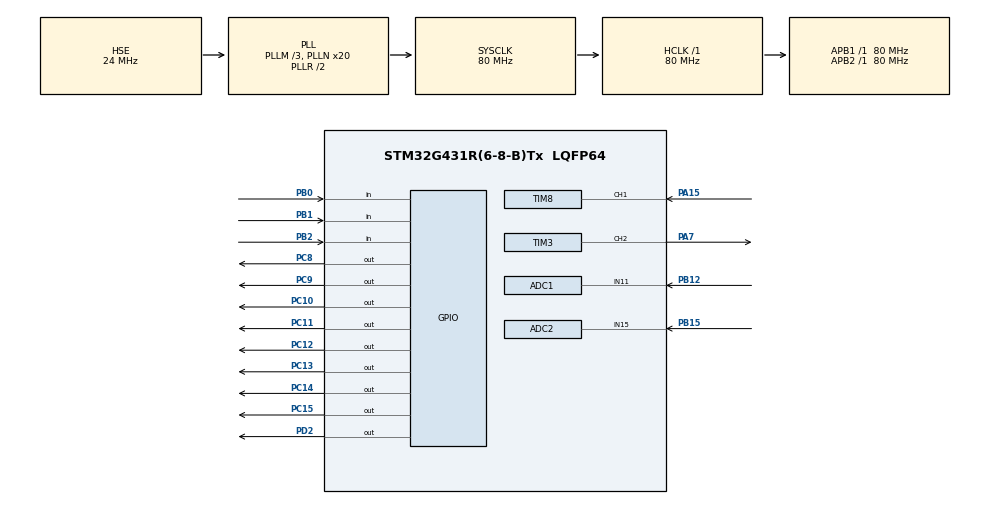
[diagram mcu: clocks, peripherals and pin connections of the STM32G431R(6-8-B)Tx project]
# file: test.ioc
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ADC1.Channel-0\#ChannelRegularConversion=ADC_CHANNEL_11
ADC1.ClockPrescaler=ADC_CLOCK_ASYNC_DIV128
ADC1.NbrOfConversionFlag=1
ADC1.OffsetNumber-0\#ChannelRegularConversion=ADC_OFFSET_NONE
ADC1.Rank-0\#ChannelRegularConversion=1
ADC1.SamplingTime-0\#ChannelRegularConversion=ADC_SAMPLETIME_2CYCLES_5
ADC1.master=1
ADC2.Channel-0\#ChannelRegularConversion=ADC_CHANNEL_15
ADC2.ClockPrescaler=ADC_CLOCK_ASYNC_DIV128
ADC2.NbrOfConversionFlag=1
ADC2.OffsetNumber-0\#ChannelRegularConversion=ADC_OFFSET_NONE
ADC2.Rank-0\#ChannelRegularConversion=1
ADC2.SamplingTime-0\#ChannelRegularConversion=ADC_SAMPLETIME_2CYCLES_5
Mcu.Family=STM32G4
Mcu.Name=STM32G431R(6-8-B)Tx
Mcu.Package=LQFP64
NVIC.PriorityGroup=NVIC_PRIORITYGROUP_4
NVIC.TIM7_IRQn=true\:0\:0\:false\:false\:true\:true\:true\:true
NVIC.TIM8_CC_IRQn=true\:0\:0\:false\:false\:true\:true\:true\:true
PA13.Mode=Serial_Wire
PA13.Signal=SYS_JTMS-SWDIO
PA14.Mode=Serial_Wire
PA14.Signal=SYS_JTCK-SWCLK
PA15.Signal=S_TIM8_CH1
PA7.Signal=S_TIM3_CH2
PB0.GPIO_Mode=GPIO_MODE_INPUT
PB0.GPIO_PuPd=GPIO_PULLUP
PB0.Signal=GPIO_Input
PB1.GPIO_Mode=GPIO_MODE_INPUT
PB1.GPIO_PuPd=GPIO_PULLUP
PB1.Signal=GPIO_Input
PB12.Mode=IN11-Single-Ended
PB12.Signal=ADC1_IN11
PB15.Mode=IN15-Single-Ended
PB15.Signal=ADC2_IN15
PB2.GPIO_Mode=GPIO_MODE_INPUT
PB2.GPIO_PuPd=GPIO_PULLUP
PB2.Signal=GPIO_Input
PC10.PinState=GPIO_PIN_SET
PC10.Signal=GPIO_Output
PC11.PinState=GPIO_PIN_SET
PC11.Signal=GPIO_Output
PC12.PinState=GPIO_PIN_SET
PC12.Signal=GPIO_Output
PC13.PinState=GPIO_PIN_SET
PC13.Signal=GPIO_Output
PC14-OSC32_IN.PinState=GPIO_PIN_SET
PC14-OSC32_IN.Signal=GPIO_Output
PC15-OSC32_OUT.PinState=GPIO_PIN_SET
PC15-OSC32_OUT.Signal=GPIO_Output
PC8.PinState=GPIO_PIN_SET
PC8.Signal=GPIO_Output
PC9.PinState=GPIO_PIN_SET
PC9.Signal=GPIO_Output
PD2.PinState=GPIO_PIN_SET
PD2.Signal=GPIO_Output
PF0-OSC_IN.Mode=HSE-External-Oscillator
PF0-OSC_IN.Signal=RCC_OSC_IN
PF1-OSC_OUT.Mode=HSE-External-Oscillator
PF1-OSC_OUT.Signal=RCC_OSC_OUT
ProjectManager.HeapSize=0x200
ProjectManager.StackSize=0x400
ProjectManager.TargetToolchain=MDK-ARM V5.32
RCC.ADC12Freq_Value=80000000
RCC.AHBFreq_Value=80000000
RCC.APB1Freq_Value=80000000
RCC.APB1TimFreq_Value=80000000
RCC.APB2Freq_Value=80000000
RCC.APB2TimFreq_Value=80000000
RCC.CortexFreq_Value=80000000
RCC.EXTERNAL_CLOCK_VALUE=12288000
RCC.HCLKFreq_Value=80000000
RCC.HSE_VALUE=24000000
RCC.HSI48_VALUE=48000000
RCC.HSI_VALUE=16000000
RCC.LSE_VALUE=32768
RCC.PLLM=RCC_PLLM_DIV3
RCC.PLLN=20
RCC.PLLSourceVirtual=RCC_PLLSOURCE_HSE
RCC.SYSCLKFreq_VALUE=80000000
RCC.SYSCLKSource=RCC_SYSCLKSOURCE_PLLCLK
RCC.USBFreq_Value=80000000
RCC.VCOOutputFreq_Value=160000000
RTC.Format=RTC_FORMAT_BIN
SH.S_TIM3_CH2.0=TIM3_CH2,PWM Generation2 CH2
SH.S_TIM8_CH1.0=TIM8_CH1,Input_Capture1_from_TI1
TIM3.Channel-PWM\ Generation2\ CH2=TIM_CHANNEL_2
TIM3.PeriodNoDither=1000-1
TIM3.Prescaler=80-1
TIM7.PeriodNoDither=1000-1
TIM7.Prescaler=80-1
TIM8.Channel-Input_Capture1_from_TI1=TIM_CHANNEL_1
TIM8.Prescaler=80-1
VP_RTC_VS_RTC_Activate.Mode=RTC_Enabled
VP_RTC_VS_RTC_Calendar.Mode=RTC_Calendar
VP_SYS_VS_DBSignals.Mode=DisableDeadBatterySignals
VP_TIM7_VS_ClockSourceINT.Mode=Enable_Timer
board=custom

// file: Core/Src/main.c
/* USER CODE BEGIN Header */
/**
  ******************************************************************************
  * @file           : main.c
  * @brief          : Main program body
  ******************************************************************************
  * @attention
  *
  * Copyright (c) 2025 STMicroelectronics.
  * All rights reserved.
  *
  * This software is licensed under terms that can be found in the LICENSE file
  * in the root directory of this software component.
  * If no LICENSE file comes with this software, it is provided AS-IS.
  *
  ******************************************************************************
  */
/* USER CODE END Header */
#include "main.h"
#include "adc.h"
#include "rtc.h"
#include "tim.h"
#include "gpio.h"

/* USER CODE BEGIN Includes */
#include "headfile.h"
/* USER CODE END Includes */

void SystemClock_Config(void);

int main(void)
{

  /* MCU Configuration--------------------------------------------------------*/

  /* Reset of all peripherals, Initializes the Flash interface and the Systick. */
  HAL_Init();

  /* Configure the system clock */
  SystemClock_Config();

  /* Initialize all configured peripherals */
  MX_GPIO_Init();
  MX_ADC1_Init();
  MX_ADC2_Init();
  MX_TIM3_Init();
  MX_TIM7_Init();
  MX_TIM8_Init();
  MX_RTC_Init();
  /* USER CODE BEGIN 2 */
  HAL_GPIO_WritePin(GPIOD, GPIO_PIN_2, GPIO_PIN_RESET);
  led_show(1,0);
  led_show(2,0);
  led_show(3,0);
  led_show(4,0);
  led_show(5,0);
  led_show(6,0);
  led_show(7,0);
  led_show(8,0);

  //led_show(8,1);

  HAL_ADCEx_Calibration_Start(&hadc1,ADC_SINGLE_ENDED);
  HAL_ADCEx_Calibration_Start(&hadc2,ADC_SINGLE_ENDED);

  HAL_TIM_IC_Start_IT(&htim8,TIM_CHANNEL_1);

  __HAL_TIM_SetAutoreload(&htim3,(80000000.0f/(80*1000))-1);
  __HAL_TIM_SetCompare(&htim3,TIM_CHANNEL_2,((80000000.0f/(80*1000))-1)*0.1f);
  __HAL_TIM_SetCounter(&htim3,0);
  HAL_TIM_PWM_Start_IT(&htim3,TIM_CHANNEL_2);

  HAL_TIM_Base_Start_IT(&htim7);

  LCD_Init();
  LCD_Clear(Black);
  LCD_SetTextColor(White);
  LCD_SetBackColor(Black);

  /* USER CODE END 2 */

  /* Infinite loop */
  /* USER CODE BEGIN WHILE */
  while (1)
  {
    while_fun();
    /* USER CODE END WHILE */

  }
}

void SystemClock_Config(void)
{
  RCC_OscInitTypeDef RCC_OscInitStruct = {0};
  RCC_ClkInitTypeDef RCC_ClkInitStruct = {0};

  /** Configure the main internal regulator output voltage
  */
  HAL_PWREx_ControlVoltageScaling(PWR_REGULATOR_VOLTAGE_SCALE1);

  /** Initializes the RCC Oscillators according to the specified parameters
  * in the RCC_OscInitTypeDef structure.
  */
  RCC_OscInitStruct.OscillatorType = RCC_OSCILLATORTYPE_LSI|RCC_OSCILLATORTYPE_HSE;
  RCC_OscInitStruct.HSEState = RCC_HSE_ON;
  RCC_OscInitStruct.LSIState = RCC_LSI_ON;
  RCC_OscInitStruct.PLL.PLLState = RCC_PLL_ON;
  RCC_OscInitStruct.PLL.PLLSource = RCC_PLLSOURCE_HSE;
  RCC_OscInitStruct.PLL.PLLM = RCC_PLLM_DIV3;
  RCC_OscInitStruct.PLL.PLLN = 20;
  RCC_OscInitStruct.PLL.PLLP = RCC_PLLP_DIV2;
  RCC_OscInitStruct.PLL.PLLQ = RCC_PLLQ_DIV2;
  RCC_OscInitStruct.PLL.PLLR = RCC_PLLR_DIV2;
  if (HAL_RCC_OscConfig(&RCC_OscInitStruct) != HAL_OK)
  {
    Error_Handler();
  }

  /** Initializes the CPU, AHB and APB buses clocks
  */
  RCC_ClkInitStruct.ClockType = RCC_CLOCKTYPE_HCLK|RCC_CLOCKTYPE_SYSCLK
                              |RCC_CLOCKTYPE_PCLK1|RCC_CLOCKTYPE_PCLK2;
  RCC_ClkInitStruct.SYSCLKSource = RCC_SYSCLKSOURCE_PLLCLK;
  RCC_ClkInitStruct.AHBCLKDivider = RCC_SYSCLK_DIV1;
  RCC_ClkInitStruct.APB1CLKDivider = RCC_HCLK_DIV1;
  RCC_ClkInitStruct.APB2CLKDivider = RCC_HCLK_DIV1;

  if (HAL_RCC_ClockConfig(&RCC_ClkInitStruct, FLASH_LATENCY_2) != HAL_OK)
  {
    Error_Handler();
  }
}

void Error_Handler(void)
{
  __disable_irq();
  while (1)
  {
  }
}
